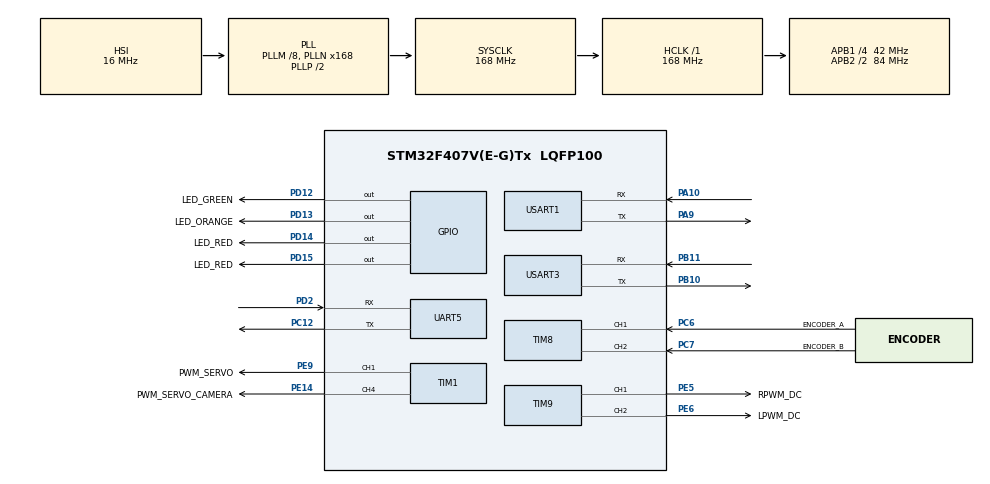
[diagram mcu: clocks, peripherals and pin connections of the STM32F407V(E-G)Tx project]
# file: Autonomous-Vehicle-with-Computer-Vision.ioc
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Dma.Request0=UART5_RX
Dma.Request1=UART5_TX
Dma.Request2=USART3_RX
Dma.Request3=USART3_TX
Dma.UART5_RX.0.Direction=DMA_PERIPH_TO_MEMORY
Dma.UART5_RX.0.FIFOMode=DMA_FIFOMODE_DISABLE
Dma.UART5_RX.0.Instance=DMA1_Stream0
Dma.UART5_RX.0.MemDataAlignment=DMA_MDATAALIGN_BYTE
Dma.UART5_RX.0.MemInc=DMA_MINC_ENABLE
Dma.UART5_RX.0.Mode=DMA_NORMAL
Dma.UART5_RX.0.PeriphDataAlignment=DMA_PDATAALIGN_BYTE
Dma.UART5_RX.0.PeriphInc=DMA_PINC_DISABLE
Dma.UART5_RX.0.Priority=DMA_PRIORITY_VERY_HIGH
Dma.UART5_TX.1.Direction=DMA_MEMORY_TO_PERIPH
Dma.UART5_TX.1.FIFOMode=DMA_FIFOMODE_DISABLE
Dma.UART5_TX.1.Instance=DMA1_Stream7
Dma.UART5_TX.1.MemDataAlignment=DMA_MDATAALIGN_BYTE
Dma.UART5_TX.1.MemInc=DMA_MINC_ENABLE
Dma.UART5_TX.1.Mode=DMA_NORMAL
Dma.UART5_TX.1.PeriphDataAlignment=DMA_PDATAALIGN_BYTE
Dma.UART5_TX.1.PeriphInc=DMA_PINC_DISABLE
Dma.UART5_TX.1.Priority=DMA_PRIORITY_VERY_HIGH
Dma.USART3_RX.2.Direction=DMA_PERIPH_TO_MEMORY
Dma.USART3_RX.2.FIFOMode=DMA_FIFOMODE_DISABLE
Dma.USART3_RX.2.Instance=DMA1_Stream1
Dma.USART3_RX.2.MemDataAlignment=DMA_MDATAALIGN_BYTE
Dma.USART3_RX.2.MemInc=DMA_MINC_ENABLE
Dma.USART3_RX.2.Mode=DMA_NORMAL
Dma.USART3_RX.2.PeriphDataAlignment=DMA_PDATAALIGN_BYTE
Dma.USART3_RX.2.PeriphInc=DMA_PINC_DISABLE
Dma.USART3_RX.2.Priority=DMA_PRIORITY_LOW
Dma.USART3_TX.3.Direction=DMA_MEMORY_TO_PERIPH
Dma.USART3_TX.3.FIFOMode=DMA_FIFOMODE_DISABLE
Dma.USART3_TX.3.Instance=DMA1_Stream3
Dma.USART3_TX.3.MemDataAlignment=DMA_MDATAALIGN_BYTE
Dma.USART3_TX.3.MemInc=DMA_MINC_ENABLE
Dma.USART3_TX.3.Mode=DMA_NORMAL
Dma.USART3_TX.3.PeriphDataAlignment=DMA_PDATAALIGN_BYTE
Dma.USART3_TX.3.PeriphInc=DMA_PINC_DISABLE
Dma.USART3_TX.3.Priority=DMA_PRIORITY_LOW
Mcu.Family=STM32F4
Mcu.Name=STM32F407V(E-G)Tx
Mcu.Package=LQFP100
NVIC.DMA1_Stream0_IRQn=true\:0\:0\:false\:false\:true\:false\:true\:true
NVIC.DMA1_Stream1_IRQn=true\:0\:0\:false\:false\:true\:false\:true\:true
NVIC.DMA1_Stream3_IRQn=true\:0\:0\:false\:false\:true\:false\:true\:true
NVIC.DMA1_Stream7_IRQn=true\:0\:0\:false\:false\:true\:false\:true\:true
NVIC.PriorityGroup=NVIC_PRIORITYGROUP_4
NVIC.TIM2_IRQn=true\:0\:0\:false\:false\:true\:true\:true\:true
NVIC.TIM3_IRQn=true\:0\:0\:false\:false\:true\:true\:true\:true
NVIC.TIM4_IRQn=true\:0\:0\:false\:false\:true\:true\:true\:true
NVIC.TIM5_IRQn=true\:0\:0\:false\:false\:true\:true\:true\:true
NVIC.UART5_IRQn=true\:0\:0\:false\:false\:true\:true\:true\:true
NVIC.USART1_IRQn=true\:0\:0\:false\:false\:true\:true\:true\:true
NVIC.USART3_IRQn=true\:0\:0\:false\:false\:true\:true\:true\:true
PA10.Mode=Asynchronous
PA10.Signal=USART1_RX
PA13.Mode=Serial_Wire
PA13.Signal=SYS_JTMS-SWDIO
PA14.Mode=Serial_Wire
PA14.Signal=SYS_JTCK-SWCLK
PA9.Mode=Asynchronous
PA9.Signal=USART1_TX
PB10.Mode=Asynchronous
PB10.Signal=USART3_TX
PB11.Mode=Asynchronous
PB11.Signal=USART3_RX
PC12.Mode=Asynchronous
PC12.Signal=UART5_TX
PC6.GPIO_Label=ENCODER_A
PC6.GPIO_PuPd=GPIO_PULLUP
PC6.Signal=S_TIM8_CH1
PC7.GPIO_Label=ENCODER_B
PC7.GPIO_PuPd=GPIO_PULLUP
PC7.Signal=S_TIM8_CH2
PD12.GPIO_Label=LED_GREEN
PD12.GPIO_Speed=GPIO_SPEED_FREQ_HIGH
PD12.PinState=GPIO_PIN_RESET
PD12.Signal=GPIO_Output
PD13.GPIO_Label=LED_ORANGE
PD13.GPIO_Speed=GPIO_SPEED_FREQ_HIGH
PD13.PinState=GPIO_PIN_RESET
PD13.Signal=GPIO_Output
PD14.GPIO_Label=LED_RED
PD14.GPIO_Speed=GPIO_SPEED_FREQ_HIGH
PD14.Signal=GPIO_Output
PD15.GPIO_Label=LED_RED
PD15.GPIO_Speed=GPIO_SPEED_FREQ_HIGH
PD15.Signal=GPIO_Output
PD2.Mode=Asynchronous
PD2.Signal=UART5_RX
PE14.GPIO_Label=PWM_SERVO_CAMERA
PE14.Signal=S_TIM1_CH4
PE5.GPIO_Label=RPWM_DC
PE5.Signal=S_TIM9_CH1
PE6.GPIO_Label=LPWM_DC
PE6.Signal=S_TIM9_CH2
PE9.GPIO_Label=PWM_SERVO
PE9.Signal=S_TIM1_CH1
PH0-OSC_IN.Mode=HSE-External-Oscillator
PH0-OSC_IN.Signal=RCC_OSC_IN
PH1-OSC_OUT.Mode=HSE-External-Oscillator
PH1-OSC_OUT.Signal=RCC_OSC_OUT
ProjectManager.HeapSize=0x200
ProjectManager.StackSize=0x400
ProjectManager.TargetToolchain=STM32CubeIDE
RCC.48MHZClocksFreq_Value=84000000
RCC.AHBFreq_Value=168000000
RCC.APB1CLKDivider=RCC_HCLK_DIV4
RCC.APB1Freq_Value=42000000
RCC.APB1TimFreq_Value=84000000
RCC.APB2CLKDivider=RCC_HCLK_DIV2
RCC.APB2Freq_Value=84000000
RCC.APB2TimFreq_Value=168000000
RCC.CortexFreq_Value=168000000
RCC.HCLKFreq_Value=168000000
RCC.HSE_VALUE=25000000
RCC.HSI_VALUE=16000000
RCC.LSE_VALUE=32768
RCC.PLLM=8
RCC.PLLN=168
RCC.SYSCLKFreq_VALUE=168000000
RCC.SYSCLKSource=RCC_SYSCLKSOURCE_PLLCLK
RCC.VCOOutputFreq_Value=336000000
SH.S_TIM1_CH1.0=TIM1_CH1,PWM Generation1 CH1
SH.S_TIM1_CH4.0=TIM1_CH4,PWM Generation4 CH4
SH.S_TIM8_CH1.0=TIM8_CH1,Encoder_Interface
SH.S_TIM8_CH2.0=TIM8_CH2,Encoder_Interface
SH.S_TIM9_CH1.0=TIM9_CH1,PWM Generation1 CH1
SH.S_TIM9_CH2.0=TIM9_CH2,PWM Generation2 CH2
TIM1.AutoReloadPreload=TIM_AUTORELOAD_PRELOAD_ENABLE
TIM1.Channel-PWM\ Generation1\ CH1=TIM_CHANNEL_1
TIM1.Channel-PWM\ Generation4\ CH4=TIM_CHANNEL_4
TIM1.OCFastMode_PWM-PWM\ Generation1\ CH1=TIM_OCFAST_DISABLE
TIM1.OCFastMode_PWM-PWM\ Generation4\ CH4=TIM_OCFAST_DISABLE
TIM5.Channel-Output\ Compare1\ No\ Output=TIM_CHANNEL_1
TIM5.Channel-Output\ Compare2\ No\ Output=TIM_CHANNEL_2
TIM5.Channel-Output\ Compare3\ No\ Output=TIM_CHANNEL_3
TIM5.Channel-Output\ Compare4\ No\ Output=TIM_CHANNEL_4
TIM8.EncoderMode=TIM_ENCODERMODE_TI12
TIM9.Channel-PWM\ Generation1\ CH1=TIM_CHANNEL_1
TIM9.Channel-PWM\ Generation2\ CH2=TIM_CHANNEL_2
UART5.VirtualMode=Asynchronous
USART1.VirtualMode=VM_ASYNC
USART3.VirtualMode=VM_ASYNC
VP_TIM1_VS_ClockSourceINT.Mode=Internal
VP_TIM2_VS_ClockSourceINT.Mode=Internal
VP_TIM3_VS_ClockSourceINT.Mode=Internal
VP_TIM4_VS_ClockSourceINT.Mode=Internal
VP_TIM5_VS_ClockSourceINT.Mode=Internal
VP_TIM5_VS_no_output1.Mode=Output Compare1 No Output
VP_TIM5_VS_no_output2.Mode=Output Compare2 No Output
VP_TIM5_VS_no_output3.Mode=Output Compare3 No Output
VP_TIM5_VS_no_output4.Mode=Output Compare4 No Output
VP_TIM9_VS_ClockSourceINT.Mode=Internal
board=custom

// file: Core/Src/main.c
/* USER CODE BEGIN Header */
/**
 ******************************************************************************
 * @file           : main.c
 * @brief          : Main program body
 ******************************************************************************
 * @attention
 *
 * Copyright (c) 2024 STMicroelectronics.
 * All rights reserved.
 *
 * This software is licensed under terms that can be found in the LICENSE file
 * in the root directory of this software component.
 * If no LICENSE file comes with this software, it is provided AS-IS.
 *
 ******************************************************************************
 */
/* USER CODE END Header */
#include "main.h"

/* USER CODE BEGIN Includes */
#include "fuzzy_controller.h"
#include "robot_control.h"
#include "sys_dcmotor.h"
#include "sys_network.h"
#include "sys_network_cmd.h"
#include "sys_servo.h"
#include "sys_uart.h"
#include "bsp_utils.h"

/* USER CODE END Includes */

TIM_HandleTypeDef htim1;
TIM_HandleTypeDef htim2;
TIM_HandleTypeDef htim3;
TIM_HandleTypeDef htim4;
TIM_HandleTypeDef htim5;
TIM_HandleTypeDef htim8;
TIM_HandleTypeDef htim9;

UART_HandleTypeDef huart5;
UART_HandleTypeDef huart1;
UART_HandleTypeDef huart3;
DMA_HandleTypeDef hdma_uart5_rx;
DMA_HandleTypeDef hdma_uart5_tx;
DMA_HandleTypeDef hdma_usart3_rx;
DMA_HandleTypeDef hdma_usart3_tx;

void SystemClock_Config(void);
static void MX_GPIO_Init(void);
static void MX_DMA_Init(void);
static void MX_TIM1_Init(void);
static void MX_USART1_UART_Init(void);
static void MX_USART3_UART_Init(void);
static void MX_TIM2_Init(void);
static void MX_TIM3_Init(void);
static void MX_TIM4_Init(void);
static void MX_TIM8_Init(void);
static void MX_TIM9_Init(void);
static void MX_UART5_Init(void);
static void MX_TIM5_Init(void);

int main(void)
{

  /* MCU Configuration--------------------------------------------------------*/

  /* Reset of all peripherals, Initializes the Flash interface and the Systick. */
  HAL_Init();

  /* Configure the system clock */
  SystemClock_Config();

  /* Initialize all configured peripherals */
  MX_GPIO_Init();
  MX_DMA_Init();
  MX_TIM1_Init();
  MX_USART1_UART_Init();
  MX_USART3_UART_Init();
  MX_TIM2_Init();
  MX_TIM3_Init();
  MX_TIM4_Init();
  MX_TIM8_Init();
  MX_TIM9_Init();
  MX_UART5_Init();
  MX_TIM5_Init();
  /* USER CODE BEGIN 2 */
  bsp_utils_init();
  robot_control_init();
  sys_servo_init();
  sys_dcmotor_init();
  sys_uart_init();
  sys_network_init();
  fuzzy_controller_init();

  /* USER CODE END 2 */

  /* Infinite loop */
  /* USER CODE BEGIN WHILE */
  while (1)
  {
    sys_dcmotor_loop();
    sys_network_process();
    robot_control_process();
    robot_control_signs_process();
    sys_uart_loop();
    /* USER CODE END WHILE */

  }
}

void SystemClock_Config(void)
{
  RCC_OscInitTypeDef RCC_OscInitStruct = {0};
  RCC_ClkInitTypeDef RCC_ClkInitStruct = {0};

  /** Configure the main internal regulator output voltage
  */
  __HAL_RCC_PWR_CLK_ENABLE();
  __HAL_PWR_VOLTAGESCALING_CONFIG(PWR_REGULATOR_VOLTAGE_SCALE1);

  /** Initializes the RCC Oscillators according to the specified parameters
  * in the RCC_OscInitTypeDef structure.
  */
  RCC_OscInitStruct.OscillatorType = RCC_OSCILLATORTYPE_HSI;
  RCC_OscInitStruct.HSIState = RCC_HSI_ON;
  RCC_OscInitStruct.HSICalibrationValue = RCC_HSICALIBRATION_DEFAULT;
  RCC_OscInitStruct.PLL.PLLState = RCC_PLL_ON;
  RCC_OscInitStruct.PLL.PLLSource = RCC_PLLSOURCE_HSI;
  RCC_OscInitStruct.PLL.PLLM = 8;
  RCC_OscInitStruct.PLL.PLLN = 168;
  RCC_OscInitStruct.PLL.PLLP = RCC_PLLP_DIV2;
  RCC_OscInitStruct.PLL.PLLQ = 4;
  if (HAL_RCC_OscConfig(&RCC_OscInitStruct) != HAL_OK)
  {
    Error_Handler();
  }

  /** Initializes the CPU, AHB and APB buses clocks
  */
  RCC_ClkInitStruct.ClockType = RCC_CLOCKTYPE_HCLK|RCC_CLOCKTYPE_SYSCLK
                              |RCC_CLOCKTYPE_PCLK1|RCC_CLOCKTYPE_PCLK2;
  RCC_ClkInitStruct.SYSCLKSource = RCC_SYSCLKSOURCE_PLLCLK;
  RCC_ClkInitStruct.AHBCLKDivider = RCC_SYSCLK_DIV1;
  RCC_ClkInitStruct.APB1CLKDivider = RCC_HCLK_DIV4;
  RCC_ClkInitStruct.APB2CLKDivider = RCC_HCLK_DIV2;

  if (HAL_RCC_ClockConfig(&RCC_ClkInitStruct, FLASH_LATENCY_5) != HAL_OK)
  {
    Error_Handler();
  }
}

static void MX_TIM1_Init(void)
{

  TIM_ClockConfigTypeDef sClockSourceConfig = {0};
  TIM_MasterConfigTypeDef sMasterConfig = {0};
  TIM_OC_InitTypeDef sConfigOC = {0};
  TIM_BreakDeadTimeConfigTypeDef sBreakDeadTimeConfig = {0};

  htim1.Instance = TIM1;
  htim1.Init.Prescaler = 0;
  htim1.Init.CounterMode = TIM_COUNTERMODE_UP;
  htim1.Init.Period = 65535;
  htim1.Init.ClockDivision = TIM_CLOCKDIVISION_DIV1;
  htim1.Init.RepetitionCounter = 0;
  htim1.Init.AutoReloadPreload = TIM_AUTORELOAD_PRELOAD_ENABLE;
  if (HAL_TIM_Base_Init(&htim1) != HAL_OK)
  {
    Error_Handler();
  }
  sClockSourceConfig.ClockSource = TIM_CLOCKSOURCE_INTERNAL;
  if (HAL_TIM_ConfigClockSource(&htim1, &sClockSourceConfig) != HAL_OK)
  {
    Error_Handler();
  }
  if (HAL_TIM_PWM_Init(&htim1) != HAL_OK)
  {
    Error_Handler();
  }
  sMasterConfig.MasterOutputTrigger = TIM_TRGO_RESET;
  sMasterConfig.MasterSlaveMode = TIM_MASTERSLAVEMODE_DISABLE;
  if (HAL_TIMEx_MasterConfigSynchronization(&htim1, &sMasterConfig) != HAL_OK)
  {
    Error_Handler();
  }
  sConfigOC.OCMode = TIM_OCMODE_PWM1;
  sConfigOC.Pulse = 0;
  sConfigOC.OCPolarity = TIM_OCPOLARITY_HIGH;
  sConfigOC.OCNPolarity = TIM_OCNPOLARITY_HIGH;
  sConfigOC.OCFastMode = TIM_OCFAST_DISABLE;
  sConfigOC.OCIdleState = TIM_OCIDLESTATE_RESET;
  sConfigOC.OCNIdleState = TIM_OCNIDLESTATE_RESET;
  if (HAL_TIM_PWM_ConfigChannel(&htim1, &sConfigOC, TIM_CHANNEL_1) != HAL_OK)
  {
    Error_Handler();
  }
  if (HAL_TIM_PWM_ConfigChannel(&htim1, &sConfigOC, TIM_CHANNEL_4) != HAL_OK)
  {
    Error_Handler();
  }
  sBreakDeadTimeConfig.OffStateRunMode = TIM_OSSR_DISABLE;
  sBreakDeadTimeConfig.OffStateIDLEMode = TIM_OSSI_DISABLE;
  sBreakDeadTimeConfig.LockLevel = TIM_LOCKLEVEL_OFF;
  sBreakDeadTimeConfig.DeadTime = 0;
  sBreakDeadTimeConfig.BreakState = TIM_BREAK_DISABLE;
  sBreakDeadTimeConfig.BreakPolarity = TIM_BREAKPOLARITY_HIGH;
  sBreakDeadTimeConfig.AutomaticOutput = TIM_AUTOMATICOUTPUT_DISABLE;
  if (HAL_TIMEx_ConfigBreakDeadTime(&htim1, &sBreakDeadTimeConfig) != HAL_OK)
  {
    Error_Handler();
  }
  HAL_TIM_MspPostInit(&htim1);

}

static void MX_TIM2_Init(void)
{

  TIM_ClockConfigTypeDef sClockSourceConfig = {0};
  TIM_MasterConfigTypeDef sMasterConfig = {0};

  htim2.Instance = TIM2;
  htim2.Init.Prescaler = 0;
  htim2.Init.CounterMode = TIM_COUNTERMODE_UP;
  htim2.Init.Period = 4294967295;
  htim2.Init.ClockDivision = TIM_CLOCKDIVISION_DIV1;
  htim2.Init.AutoReloadPreload = TIM_AUTORELOAD_PRELOAD_DISABLE;
  if (HAL_TIM_Base_Init(&htim2) != HAL_OK)
  {
    Error_Handler();
  }
  sClockSourceConfig.ClockSource = TIM_CLOCKSOURCE_INTERNAL;
  if (HAL_TIM_ConfigClockSource(&htim2, &sClockSourceConfig) != HAL_OK)
  {
    Error_Handler();
  }
  sMasterConfig.MasterOutputTrigger = TIM_TRGO_RESET;
  sMasterConfig.MasterSlaveMode = TIM_MASTERSLAVEMODE_DISABLE;
  if (HAL_TIMEx_MasterConfigSynchronization(&htim2, &sMasterConfig) != HAL_OK)
  {
    Error_Handler();
  }

}

static void MX_TIM3_Init(void)
{

  TIM_ClockConfigTypeDef sClockSourceConfig = {0};
  TIM_MasterConfigTypeDef sMasterConfig = {0};

  htim3.Instance = TIM3;
  htim3.Init.Prescaler = 0;
  htim3.Init.CounterMode = TIM_COUNTERMODE_UP;
  htim3.Init.Period = 65535;
  htim3.Init.ClockDivision = TIM_CLOCKDIVISION_DIV1;
  htim3.Init.AutoReloadPreload = TIM_AUTORELOAD_PRELOAD_DISABLE;
  if (HAL_TIM_Base_Init(&htim3) != HAL_OK)
  {
    Error_Handler();
  }
  sClockSourceConfig.ClockSource = TIM_CLOCKSOURCE_INTERNAL;
  if (HAL_TIM_ConfigClockSource(&htim3, &sClockSourceConfig) != HAL_OK)
  {
    Error_Handler();
  }
  sMasterConfig.MasterOutputTrigger = TIM_TRGO_RESET;
  sMasterConfig.MasterSlaveMode = TIM_MASTERSLAVEMODE_DISABLE;
  if (HAL_TIMEx_MasterConfigSynchronization(&htim3, &sMasterConfig) != HAL_OK)
  {
    Error_Handler();
  }

}

static void MX_TIM4_Init(void)
{

  TIM_ClockConfigTypeDef sClockSourceConfig = {0};
  TIM_MasterConfigTypeDef sMasterConfig = {0};

  htim4.Instance = TIM4;
  htim4.Init.Prescaler = 0;
  htim4.Init.CounterMode = TIM_COUNTERMODE_UP;
  htim4.Init.Period = 65535;
  htim4.Init.ClockDivision = TIM_CLOCKDIVISION_DIV1;
  htim4.Init.AutoReloadPreload = TIM_AUTORELOAD_PRELOAD_DISABLE;
  if (HAL_TIM_Base_Init(&htim4) != HAL_OK)
  {
    Error_Handler();
  }
  sClockSourceConfig.ClockSource = TIM_CLOCKSOURCE_INTERNAL;
  if (HAL_TIM_ConfigClockSource(&htim4, &sClockSourceConfig) != HAL_OK)
  {
    Error_Handler();
  }
  sMasterConfig.MasterOutputTrigger = TIM_TRGO_RESET;
  sMasterConfig.MasterSlaveMode = TIM_MASTERSLAVEMODE_DISABLE;
  if (HAL_TIMEx_MasterConfigSynchronization(&htim4, &sMasterConfig) != HAL_OK)
  {
    Error_Handler();
  }

}

static void MX_TIM5_Init(void)
{

  TIM_ClockConfigTypeDef sClockSourceConfig = {0};
  TIM_MasterConfigTypeDef sMasterConfig = {0};
  TIM_OC_InitTypeDef sConfigOC = {0};

  htim5.Instance = TIM5;
  htim5.Init.Prescaler = 0;
  htim5.Init.CounterMode = TIM_COUNTERMODE_UP;
  htim5.Init.Period = 4294967295;
  htim5.Init.ClockDivision = TIM_CLOCKDIVISION_DIV1;
  htim5.Init.AutoReloadPreload = TIM_AUTORELOAD_PRELOAD_DISABLE;
  if (HAL_TIM_Base_Init(&htim5) != HAL_OK)
  {
    Error_Handler();
  }
  sClockSourceConfig.ClockSource = TIM_CLOCKSOURCE_INTERNAL;
  if (HAL_TIM_ConfigClockSource(&htim5, &sClockSourceConfig) != HAL_OK)
  {
    Error_Handler();
  }
  if (HAL_TIM_OC_Init(&htim5) != HAL_OK)
  {
    Error_Handler();
  }
  sMasterConfig.MasterOutputTrigger = TIM_TRGO_RESET;
  sMasterConfig.MasterSlaveMode = TIM_MASTERSLAVEMODE_DISABLE;
  if (HAL_TIMEx_MasterConfigSynchronization(&htim5, &sMasterConfig) != HAL_OK)
  {
    Error_Handler();
  }
  sConfigOC.OCMode = TIM_OCMODE_TIMING;
  sConfigOC.Pulse = 0;
  sConfigOC.OCPolarity = TIM_OCPOLARITY_HIGH;
  sConfigOC.OCFastMode = TIM_OCFAST_DISABLE;
  if (HAL_TIM_OC_ConfigChannel(&htim5, &sConfigOC, TIM_CHANNEL_1) != HAL_OK)
  {
    Error_Handler();
  }
  if (HAL_TIM_OC_ConfigChannel(&htim5, &sConfigOC, TIM_CHANNEL_2) != HAL_OK)
  {
    Error_Handler();
  }
  if (HAL_TIM_OC_ConfigChannel(&htim5, &sConfigOC, TIM_CHANNEL_3) != HAL_OK)
  {
    Error_Handler();
  }
  if (HAL_TIM_OC_ConfigChannel(&htim5, &sConfigOC, TIM_CHANNEL_4) != HAL_OK)
  {
    Error_Handler();
  }

}

static void MX_TIM8_Init(void)
{

  TIM_Encoder_InitTypeDef sConfig = {0};
  TIM_MasterConfigTypeDef sMasterConfig = {0};

  htim8.Instance = TIM8;
  htim8.Init.Prescaler = 0;
  htim8.Init.CounterMode = TIM_COUNTERMODE_UP;
  htim8.Init.Period = 65535;
  htim8.Init.ClockDivision = TIM_CLOCKDIVISION_DIV1;
  htim8.Init.RepetitionCounter = 0;
  htim8.Init.AutoReloadPreload = TIM_AUTORELOAD_PRELOAD_DISABLE;
  sConfig.EncoderMode = TIM_ENCODERMODE_TI12;
  sConfig.IC1Polarity = TIM_ICPOLARITY_RISING;
  sConfig.IC1Selection = TIM_ICSELECTION_DIRECTTI;
  sConfig.IC1Prescaler = TIM_ICPSC_DIV1;
  sConfig.IC1Filter = 0;
  sConfig.IC2Polarity = TIM_ICPOLARITY_RISING;
  sConfig.IC2Selection = TIM_ICSELECTION_DIRECTTI;
  sConfig.IC2Prescaler = TIM_ICPSC_DIV1;
  sConfig.IC2Filter = 0;
  if (HAL_TIM_Encoder_Init(&htim8, &sConfig) != HAL_OK)
  {
    Error_Handler();
  }
  sMasterConfig.MasterOutputTrigger = TIM_TRGO_RESET;
  sMasterConfig.MasterSlaveMode = TIM_MASTERSLAVEMODE_DISABLE;
  if (HAL_TIMEx_MasterConfigSynchronization(&htim8, &sMasterConfig) != HAL_OK)
  {
    Error_Handler();
  }

}

static void MX_TIM9_Init(void)
{

  TIM_ClockConfigTypeDef sClockSourceConfig = {0};
  TIM_OC_InitTypeDef sConfigOC = {0};

  htim9.Instance = TIM9;
  htim9.Init.Prescaler = 0;
  htim9.Init.CounterMode = TIM_COUNTERMODE_UP;
  htim9.Init.Period = 65535;
  htim9.Init.ClockDivision = TIM_CLOCKDIVISION_DIV1;
  htim9.Init.AutoReloadPreload = TIM_AUTORELOAD_PRELOAD_DISABLE;
  if (HAL_TIM_Base_Init(&htim9) != HAL_OK)
  {
    Error_Handler();
  }
  sClockSourceConfig.ClockSource = TIM_CLOCKSOURCE_INTERNAL;
  if (HAL_TIM_ConfigClockSource(&htim9, &sClockSourceConfig) != HAL_OK)
  {
    Error_Handler();
  }
  if (HAL_TIM_PWM_Init(&htim9) != HAL_OK)
  {
    Error_Handler();
  }
  sConfigOC.OCMode = TIM_OCMODE_PWM1;
  sConfigOC.Pulse = 0;
  sConfigOC.OCPolarity = TIM_OCPOLARITY_HIGH;
  sConfigOC.OCFastMode = TIM_OCFAST_DISABLE;
  if (HAL_TIM_PWM_ConfigChannel(&htim9, &sConfigOC, TIM_CHANNEL_1) != HAL_OK)
  {
    Error_Handler();
  }
  if (HAL_TIM_PWM_ConfigChannel(&htim9, &sConfigOC, TIM_CHANNEL_2) != HAL_OK)
  {
    Error_Handler();
  }
  HAL_TIM_MspPostInit(&htim9);

}

static void MX_UART5_Init(void)
{

  huart5.Instance = UART5;
  huart5.Init.BaudRate = 115200;
  huart5.Init.WordLength = UART_WORDLENGTH_8B;
  huart5.Init.StopBits = UART_STOPBITS_1;
  huart5.Init.Parity = UART_PARITY_NONE;
  huart5.Init.Mode = UART_MODE_TX_RX;
  huart5.Init.HwFlowCtl = UART_HWCONTROL_NONE;
  huart5.Init.OverSampling = UART_OVERSAMPLING_16;
  if (HAL_UART_Init(&huart5) != HAL_OK)
  {
    Error_Handler();
  }

}

static void MX_USART1_UART_Init(void)
{

  huart1.Instance = USART1;
  huart1.Init.BaudRate = 115200;
  huart1.Init.WordLength = UART_WORDLENGTH_8B;
  huart1.Init.StopBits = UART_STOPBITS_1;
  huart1.Init.Parity = UART_PARITY_NONE;
  huart1.Init.Mode = UART_MODE_TX_RX;
  huart1.Init.HwFlowCtl = UART_HWCONTROL_NONE;
  huart1.Init.OverSampling = UART_OVERSAMPLING_16;
  if (HAL_UART_Init(&huart1) != HAL_OK)
  {
    Error_Handler();
  }

}

static void MX_USART3_UART_Init(void)
{

  huart3.Instance = USART3;
  huart3.Init.BaudRate = 115200;
  huart3.Init.WordLength = UART_WORDLENGTH_8B;
  huart3.Init.StopBits = UART_STOPBITS_1;
  huart3.Init.Parity = UART_PARITY_NONE;
  huart3.Init.Mode = UART_MODE_TX_RX;
  huart3.Init.HwFlowCtl = UART_HWCONTROL_NONE;
  huart3.Init.OverSampling = UART_OVERSAMPLING_16;
  if (HAL_UART_Init(&huart3) != HAL_OK)
  {
    Error_Handler();
  }

}

static void MX_DMA_Init(void)
{

  /* DMA controller clock enable */
  __HAL_RCC_DMA1_CLK_ENABLE();

  /* DMA interrupt init */
  /* DMA1_Stream0_IRQn interrupt configuration */
  HAL_NVIC_SetPriority(DMA1_Stream0_IRQn, 0, 0);
  HAL_NVIC_EnableIRQ(DMA1_Stream0_IRQn);
  /* DMA1_Stream1_IRQn interrupt configuration */
  HAL_NVIC_SetPriority(DMA1_Stream1_IRQn, 0, 0);
  HAL_NVIC_EnableIRQ(DMA1_Stream1_IRQn);
  /* DMA1_Stream3_IRQn interrupt configuration */
  HAL_NVIC_SetPriority(DMA1_Stream3_IRQn, 0, 0);
  HAL_NVIC_EnableIRQ(DMA1_Stream3_IRQn);
  /* DMA1_Stream7_IRQn interrupt configuration */
  HAL_NVIC_SetPriority(DMA1_Stream7_IRQn, 0, 0);
  HAL_NVIC_EnableIRQ(DMA1_Stream7_IRQn);

}

static void MX_GPIO_Init(void)
{
  GPIO_InitTypeDef GPIO_InitStruct = {0};

  /* GPIO Ports Clock Enable */
  __HAL_RCC_GPIOE_CLK_ENABLE();
  __HAL_RCC_GPIOH_CLK_ENABLE();
  __HAL_RCC_GPIOB_CLK_ENABLE();
  __HAL_RCC_GPIOD_CLK_ENABLE();
  __HAL_RCC_GPIOC_CLK_ENABLE();
  __HAL_RCC_GPIOA_CLK_ENABLE();

  /*Configure GPIO pin Output Level */
  HAL_GPIO_WritePin(GPIOD, LED_GREEN_Pin|LED_ORANGE_Pin|LED_RED_Pin|LED_REDD15_Pin, GPIO_PIN_RESET);

  /*Configure GPIO pins : LED_GREEN_Pin LED_ORANGE_Pin LED_RED_Pin LED_REDD15_Pin */
  GPIO_InitStruct.Pin = LED_GREEN_Pin|LED_ORANGE_Pin|LED_RED_Pin|LED_REDD15_Pin;
  GPIO_InitStruct.Mode = GPIO_MODE_OUTPUT_PP;
  GPIO_InitStruct.Pull = GPIO_NOPULL;
  GPIO_InitStruct.Speed = GPIO_SPEED_FREQ_HIGH;
  HAL_GPIO_Init(GPIOD, &GPIO_InitStruct);

}

void Error_Handler(void)
{
  __disable_irq();
  while (1)
  {
  }
}
